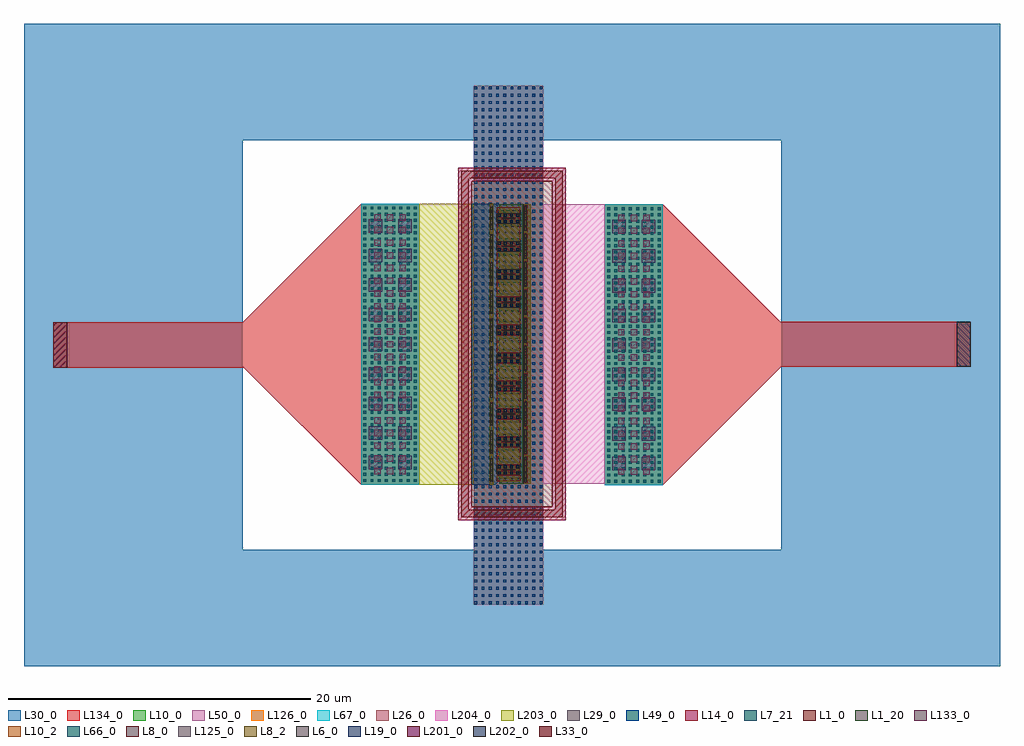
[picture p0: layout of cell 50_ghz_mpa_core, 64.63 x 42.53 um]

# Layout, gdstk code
from math import pi, radians
import gdstk
lib = gdstk.Library(unit=1e-6, precision=1e-09)
def R(c, l, rs):  # rectangles x0, y0, x1, y1
    for r in rs: c.add(gdstk.rectangle(r[:2], r[2:], *l))
def A(c, l, x, y, w, h, nx, ny, dx, dy):  # array of equal rectangles
    R(c, l, [(x+i*dx, y+j*dy, x+i*dx+w, y+j*dy+h) for i in range(nx) for j in range(ny)])
def P(c, l, *ps):  # polygons
    for p in ps: c.add(gdstk.Polygon(p, *l))
L1_0 = (1, 0)
L1_20 = (1, 20)
L6_0 = (6, 0)
L7_21 = (7, 21)
L8_0 = (8, 0)
L8_2 = (8, 2)
L10_0 = (10, 0)
L10_2 = (10, 2)
L14_0 = (14, 0)
L19_0 = (19, 0)
L26_0 = (26, 0)
L29_0 = (29, 0)
L30_0 = (30, 0)
L33_0 = (33, 0)
L49_0 = (49, 0)
L50_0 = (50, 0)
L66_0 = (66, 0)
L67_0 = (67, 0)
L125_0 = (125, 0)
L126_0 = (126, 0)
L133_0 = (133, 0)
L134_0 = (134, 0)
L201_0 = (201, 0)
L202_0 = (202, 0)
L203_0 = (203, 0)
L204_0 = (204, 0)

npn13g2_1 = lib.new_cell('npn13G2$1')
A(npn13g2_1, L1_0, -0.925, 0.98, 1.85, 0.3, 10, 1, 1.85, 0)
P(npn13g2_1, L1_0, [(-3.15,-3.13),(-3.15,3.58),(19.3,3.58),(19.3,3.08),(-2.65,3.08),(-2.65,-2.63),(19.3,-2.63),(19.3,3.58),(19.8,3.58),(19.8,-3.13)])
P(npn13g2_1, L1_20, [(-0.235,-0.83),(-0.445,-0.62),(-0.925,-0.62),(-0.925,0.98),(0.925,0.98),(0.925,-0.62),(0.445,-0.62),(0.235,-0.83)],
  [(1.615,-0.83),(1.405,-0.62),(0.925,-0.62),(0.925,0.98),(2.775,0.98),(2.775,-0.62),(2.295,-0.62),(2.085,-0.83)],
  [(3.465,-0.83),(3.255,-0.62),(2.775,-0.62),(2.775,0.98),(4.625,0.98),(4.625,-0.62),(4.145,-0.62),(3.935,-0.83)],
  [(5.315,-0.83),(5.105,-0.62),(4.625,-0.62),(4.625,0.98),(6.475,0.98),(6.475,-0.62),(5.995,-0.62),(5.785,-0.83)],
  [(7.165,-0.83),(6.955,-0.62),(6.475,-0.62),(6.475,0.98),(8.325,0.98),(8.325,-0.62),(7.845,-0.62),(7.635,-0.83)],
  [(9.015,-0.83),(8.805,-0.62),(8.325,-0.62),(8.325,0.98),(10.175,0.98),(10.175,-0.62),(9.695,-0.62),(9.485,-0.83)],
  [(10.865,-0.83),(10.655,-0.62),(10.175,-0.62),(10.175,0.98),(12.025,0.98),(12.025,-0.62),(11.545,-0.62),(11.335,-0.83)],
  [(12.715,-0.83),(12.505,-0.62),(12.025,-0.62),(12.025,0.98),(13.875,0.98),(13.875,-0.62),(13.395,-0.62),(13.185,-0.83)],
  [(14.565,-0.83),(14.355,-0.62),(13.875,-0.62),(13.875,0.98),(15.725,0.98),(15.725,-0.62),(15.245,-0.62),(15.035,-0.83)],
  [(16.415,-0.83),(16.205,-0.62),(15.725,-0.62),(15.725,0.98),(17.575,0.98),(17.575,-0.62),(17.095,-0.62),(16.885,-0.83)])
A(npn13g2_1, L6_0, -0.76, -1.22, 1.52, 0.16, 10, 1, 1.85, 0)
A(npn13g2_1, L6_0, -0.825, 1.05, 1.65, 0.16, 10, 1, 1.85, 0)
P(npn13g2_1, L7_21, [(-0.975,-2.43),(-0.975,-0.9),(-0.555,-0.48),(-0.555,0.69),(-0.305,0.94),(0.305,0.94),(0.555,0.69),(0.555,-0.48),(0.975,-0.9),(0.975,-2.43)],
  [(0.875,-2.43),(0.875,-0.9),(1.295,-0.48),(1.295,0.69),(1.545,0.94),(2.155,0.94),(2.405,0.69),(2.405,-0.48),(2.825,-0.9),(2.825,-2.43)],
  [(2.725,-2.43),(2.725,-0.9),(3.145,-0.48),(3.145,0.69),(3.395,0.94),(4.005,0.94),(4.255,0.69),(4.255,-0.48),(4.675,-0.9),(4.675,-2.43)],
  [(4.575,-2.43),(4.575,-0.9),(4.995,-0.48),(4.995,0.69),(5.245,0.94),(5.855,0.94),(6.105,0.69),(6.105,-0.48),(6.525,-0.9),(6.525,-2.43)],
  [(6.425,-2.43),(6.425,-0.9),(6.845,-0.48),(6.845,0.69),(7.095,0.94),(7.705,0.94),(7.955,0.69),(7.955,-0.48),(8.375,-0.9),(8.375,-2.43)],
  [(8.275,-2.43),(8.275,-0.9),(8.695,-0.48),(8.695,0.69),(8.945,0.94),(9.555,0.94),(9.805,0.69),(9.805,-0.48),(10.225,-0.9),(10.225,-2.43)],
  [(10.125,-2.43),(10.125,-0.9),(10.545,-0.48),(10.545,0.69),(10.795,0.94),(11.405,0.94),(11.655,0.69),(11.655,-0.48),(12.075,-0.9),(12.075,-2.43)],
  [(11.975,-2.43),(11.975,-0.9),(12.395,-0.48),(12.395,0.69),(12.645,0.94),(13.255,0.94),(13.505,0.69),(13.505,-0.48),(13.925,-0.9),(13.925,-2.43)],
  [(13.825,-2.43),(13.825,-0.9),(14.245,-0.48),(14.245,0.69),(14.495,0.94),(15.105,0.94),(15.355,0.69),(15.355,-0.48),(15.775,-0.9),(15.775,-2.43)],
  [(15.675,-2.43),(15.675,-0.9),(16.095,-0.48),(16.095,0.69),(16.345,0.94),(16.955,0.94),(17.205,0.69),(17.205,-0.48),(17.625,-0.9),(17.625,-2.43)])
A(npn13g2_1, L8_0, -0.35, -0.785, 0.7, 1.555, 10, 1, 1.85, 0)
R(npn13g2_1, L8_0, [(-0.975,-1.26,17.625,-1.02), (-0.925,1.02,17.575,1.46)])
R(npn13g2_1, L8_2, [(-0.975,-1.26,17.625,-1.02), (-0.925,1.02,17.575,1.46)])
R(npn13g2_1, L10_0, [(-0.925,-0.785,17.575,0.77)])
R(npn13g2_1, L10_2, [(-0.745,-0.785,17.395,0.77)])
P(npn13g2_1, L14_0, [(-3.35,-3.33),(-3.35,3.78),(19.1,3.78),(19.1,2.88),(-2.45,2.88),(-2.45,-2.43),(19.1,-2.43),(19.1,3.78),(20,3.78),(20,-3.33)])
A(npn13g2_1, L19_0, -0.3, -0.72, 0.19, 0.19, 1, 4, 0, 0.41)
A(npn13g2_1, L19_0, 0.11, -0.72, 0.19, 0.19, 1, 4, 0, 0.41)
A(npn13g2_1, L19_0, 1.55, -0.72, 0.19, 0.19, 1, 4, 0, 0.41)
A(npn13g2_1, L19_0, 1.96, -0.72, 0.19, 0.19, 1, 4, 0, 0.41)
A(npn13g2_1, L19_0, 3.4, -0.72, 0.19, 0.19, 1, 4, 0, 0.41)
A(npn13g2_1, L19_0, 3.81, -0.72, 0.19, 0.19, 1, 4, 0, 0.41)
A(npn13g2_1, L19_0, 5.25, -0.72, 0.19, 0.19, 1, 4, 0, 0.41)
A(npn13g2_1, L19_0, 5.66, -0.72, 0.19, 0.19, 1, 4, 0, 0.41)
A(npn13g2_1, L19_0, 7.1, -0.72, 0.19, 0.19, 1, 4, 0, 0.41)
A(npn13g2_1, L19_0, 7.51, -0.72, 0.19, 0.19, 1, 4, 0, 0.41)
A(npn13g2_1, L19_0, 8.95, -0.72, 0.19, 0.19, 1, 4, 0, 0.41)
A(npn13g2_1, L19_0, 9.36, -0.72, 0.19, 0.19, 1, 4, 0, 0.41)
A(npn13g2_1, L19_0, 10.8, -0.72, 0.19, 0.19, 1, 4, 0, 0.41)
A(npn13g2_1, L19_0, 11.21, -0.72, 0.19, 0.19, 1, 4, 0, 0.41)
A(npn13g2_1, L19_0, 12.65, -0.72, 0.19, 0.19, 1, 4, 0, 0.41)
A(npn13g2_1, L19_0, 13.06, -0.72, 0.19, 0.19, 1, 4, 0, 0.41)
A(npn13g2_1, L19_0, 14.5, -0.72, 0.19, 0.19, 1, 4, 0, 0.41)
A(npn13g2_1, L19_0, 14.91, -0.72, 0.19, 0.19, 1, 4, 0, 0.41)
A(npn13g2_1, L19_0, 16.35, -0.72, 0.19, 0.19, 1, 4, 0, 0.41)
A(npn13g2_1, L19_0, 16.76, -0.72, 0.19, 0.19, 1, 4, 0, 0.41)
R(npn13g2_1, L26_0, [(-2.45,-2.43,19.1,2.88)])
A(npn13g2_1, L33_0, -0.035, -0.45, 0.07, 0.9, 10, 1, 1.85, 0)
npn13g2_1.add(gdstk.Label('npn13G2', (0.015,2.31), layer=63, texttype=0))
npn13g2_1.add(gdstk.Label('C', (8.325,1.24), layer=63, texttype=0))
npn13g2_1.add(gdstk.Label('B', (8.325,-1.14), layer=63, texttype=0))
npn13g2_1.add(gdstk.Label('E', (8.325,-0.007), layer=63, texttype=0))
npn13g2_1.add(gdstk.Label('Ae=10*1*0.07*0.90', (-1.977,-2.546), layer=63, texttype=0))

via_stack_1 = lib.new_cell('via_stack$1')
R(via_stack_1, L10_0, [(-2.305,-17.185,2.305,17.185)])
A(via_stack_1, L29_0, -2.255, -17.135, 0.19, 0.19, 10, 72, 0.48, 0.48)
R(via_stack_1, L30_0, [(-2.305,-17.185,2.305,17.185)])
A(via_stack_1, L49_0, -2.255, -17.135, 0.19, 0.19, 10, 72, 0.48, 0.48)
R(via_stack_1, L50_0, [(-2.305,-17.185,2.305,17.185)])

c_50_ghz_mpa_core = lib.new_cell('50_ghz_mpa_core')
R(c_50_ghz_mpa_core, L10_0, [(-19.205,-52.025,-15.345,-33.425), (-35.335,-51.98,-31.475,-33.38)])
A(c_50_ghz_mpa_core, L29_0, -19.04, -51.84, 0.19, 0.19, 8, 45, 0.48, 0.41)
A(c_50_ghz_mpa_core, L29_0, -35.19, -51.795, 0.19, 0.19, 8, 45, 0.48, 0.41)
R(c_50_ghz_mpa_core, L30_0, [(-57.655,-63.995,-55.705,-21.465), (-55.705,-63.995,-43.185,-21.465), (-43.185,-63.995,-7.495,-56.29), (-7.495,-63.995,5.025,-21.465), (5.025,-63.995,6.975,-21.465), (-19.205,-52.025,-15.345,-33.425), (-35.335,-51.98,-31.475,-33.38), (-43.185,-29.17,-7.495,-21.465)])
A(c_50_ghz_mpa_core, L49_0, -19.04, -51.84, 0.19, 0.19, 8, 45, 0.48, 0.41)
A(c_50_ghz_mpa_core, L49_0, -35.19, -51.795, 0.19, 0.19, 8, 45, 0.48, 0.41)
R(c_50_ghz_mpa_core, L50_0, [(-19.205,-52.025,-15.345,-33.425), (-35.335,-51.98,-31.475,-33.38)])
A(c_50_ghz_mpa_core, L66_0, -19.04, -51.84, 0.19, 0.19, 8, 45, 0.48, 0.41)
A(c_50_ghz_mpa_core, L66_0, -35.19, -51.795, 0.19, 0.19, 8, 45, 0.48, 0.41)
R(c_50_ghz_mpa_core, L67_0, [(-19.205,-52.025,-15.345,-33.425), (-35.335,-51.98,-31.475,-33.38)])
A(c_50_ghz_mpa_core, L125_0, -18.315, -51.335, 0.42, 0.42, 3, 21, 0.84, 0.84)
A(c_50_ghz_mpa_core, L125_0, -34.465, -51.29, 0.42, 0.42, 3, 21, 0.84, 0.84)
R(c_50_ghz_mpa_core, L126_0, [(-19.205,-52.025,-15.345,-33.425), (-35.335,-51.98,-31.475,-33.38)])
A(c_50_ghz_mpa_core, L133_0, -18.705, -51.015, 0.9, 0.9, 1, 9, 0, 1.96)
A(c_50_ghz_mpa_core, L133_0, -16.745, -51.015, 0.9, 0.9, 1, 9, 0, 1.96)
A(c_50_ghz_mpa_core, L133_0, -34.835, -50.97, 0.9, 0.9, 1, 9, 0, 1.96)
A(c_50_ghz_mpa_core, L133_0, -32.875, -50.97, 0.9, 0.9, 1, 9, 0, 1.96)
R(c_50_ghz_mpa_core, L134_0, [(-19.205,-52.025,-15.345,-33.425), (-35.335,-51.98,-31.475,-33.38), (-55.705,-44.23,-35.335,-41.23), (-15.345,-44.175,5.025,-41.175)])
P(c_50_ghz_mpa_core, L134_0, [(-43.185,-41.23),(-35.335,-33.38),(-35.335,-41.23)],
  [(-35.335,-51.98),(-43.09,-44.23),(-35.335,-44.23)],
  [(-15.345,-41.175),(-15.345,-33.425),(-7.59,-41.175)],
  [(-15.345,-52.025),(-15.345,-44.175),(-7.495,-44.175)])
R(c_50_ghz_mpa_core, L201_0, [(-55.705,-44.23,-54.785,-41.23)])
R(c_50_ghz_mpa_core, L202_0, [(4.105,-44.175,5.025,-41.175)])
R(c_50_ghz_mpa_core, L203_0, [(-31.475,-51.975,-27.885,-33.38)])
R(c_50_ghz_mpa_core, L204_0, [(-23.275,-51.925,-19.205,-33.425)])
c_50_ghz_mpa_core.add(gdstk.Reference(npn13g2_1, (-25.565,-34.35), rotation=3*pi/2))
c_50_ghz_mpa_core.add(gdstk.Reference(via_stack_1, (-25.58,-42.755)))

lib.write_gds('50_ghz_mpa_core.gds')
